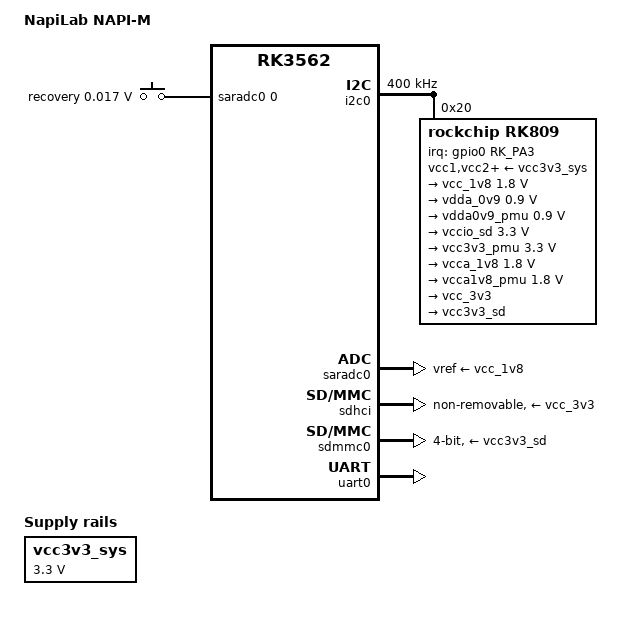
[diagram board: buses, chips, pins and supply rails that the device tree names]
// SPDX-License-Identifier: (GPL-2.0+ OR MIT)
/dts-v1/;

#include "rk3562.dtsi"
#include "rk3562-u-boot.dtsi"
#include <dt-bindings/input/input.h>

/ {
	model = "NapiLab NAPI-M";
	compatible = "napilab,napi-m", "rockchip,rk3562";

	aliases {
		serial0 = &uart0;
	};

	chosen {
		stdout-path = "serial0:1500000n8";
		u-boot,spl-boot-order = &sdmmc0, &sdhci;
	};

	adc-keys {
		compatible = "adc-keys";
		io-channels = <&saradc0 0>;
		io-channel-names = "buttons";
		keyup-threshold-microvolt = <1800000>;
		u-boot,dm-pre-reloc;

		recovery-key {
			label = "recovery";
			linux,code = <KEY_VOLUMEUP>;
			press-threshold-microvolt = <17000>;
			u-boot,dm-pre-reloc;
		};
	};

	vcc3v3_sys: regulator-vcc3v3-sys {
		compatible = "regulator-fixed";
		regulator-name = "vcc3v3_sys";
		regulator-min-microvolt = <3300000>;
		regulator-max-microvolt = <3300000>;
		regulator-always-on;
		regulator-boot-on;
		u-boot,dm-pre-reloc;
	};
};

&i2c0 {
	clock-frequency = <400000>;
	status = "okay";
	u-boot,dm-pre-reloc;

	rk809: pmic@20 {
		compatible = "rockchip,rk809";
		reg = <0x20>;
		interrupt-parent = <&gpio0>;
		interrupts = <RK_PA3 IRQ_TYPE_LEVEL_LOW>;
		pinctrl-names = "default";
		pinctrl-0 = <&pmic_int &soc_slppin_gpio>;
		rockchip,system-power-controller;
		pmic-reset-func = <0>;
		not-save-power-en = <1>;
		#clock-cells = <1>;
		u-boot,dm-pre-reloc;

		vcc1-supply = <&vcc3v3_sys>;
		vcc2-supply = <&vcc3v3_sys>;
		vcc3-supply = <&vcc3v3_sys>;
		vcc4-supply = <&vcc3v3_sys>;
		vcc5-supply = <&vcc3v3_sys>;
		vcc6-supply = <&vcc3v3_sys>;
		vcc7-supply = <&vcc3v3_sys>;
		vcc8-supply = <&vcc3v3_sys>;
		vcc9-supply = <&vcc3v3_sys>;

		pwrkey {
			u-boot,dm-pre-reloc;
			status = "okay";
		};

		regulators {
			/* BUCK3 uses external feedback; preserve its voltage. */
			vcc_1v8: DCDC_REG5 {
				regulator-name = "vcc_1v8";
				regulator-min-microvolt = <1800000>;
				regulator-max-microvolt = <1800000>;
				regulator-always-on;
				regulator-boot-on;
			};

			vdda_0v9: LDO_REG2 {
				regulator-name = "vdda_0v9";
				regulator-min-microvolt = <900000>;
				regulator-max-microvolt = <900000>;
				regulator-always-on;
				regulator-boot-on;
			};

			vdda0v9_pmu: LDO_REG3 {
				regulator-name = "vdda0v9_pmu";
				regulator-min-microvolt = <900000>;
				regulator-max-microvolt = <900000>;
				regulator-always-on;
				regulator-boot-on;
			};

			vccio_sd: LDO_REG5 {
				regulator-name = "vccio_sd";
				regulator-min-microvolt = <3300000>;
				regulator-max-microvolt = <3300000>;
				regulator-always-on;
				regulator-boot-on;
			};

			vcc3v3_pmu: LDO_REG6 {
				regulator-name = "vcc3v3_pmu";
				regulator-min-microvolt = <3300000>;
				regulator-max-microvolt = <3300000>;
				regulator-always-on;
				regulator-boot-on;
			};

			vcca_1v8: LDO_REG7 {
				regulator-name = "vcca_1v8";
				regulator-min-microvolt = <1800000>;
				regulator-max-microvolt = <1800000>;
				regulator-always-on;
				regulator-boot-on;
			};

			/* LDO8 also supplies LPDDR3 VDD1. */
			vcca1v8_pmu: LDO_REG8 {
				regulator-name = "vcca1v8_pmu";
				regulator-min-microvolt = <1800000>;
				regulator-max-microvolt = <1800000>;
				regulator-always-on;
				regulator-boot-on;
			};

			vcc_3v3: SWITCH_REG1 {
				regulator-name = "vcc_3v3";
				regulator-always-on;
				regulator-boot-on;
			};

			vcc3v3_sd: SWITCH_REG2 {
				regulator-name = "vcc3v3_sd";
				regulator-always-on;
				regulator-boot-on;
			};
		};
	};
};

&saradc0 {
	vref-supply = <&vcc_1v8>;
};

&sdhci {
	/delete-property/ mmc-hs400-1_8v;
	/delete-property/ mmc-hs400-enhanced-strobe;
	mmc-hs200-1_8v;
	vmmc-supply = <&vcc_3v3>;
	vqmmc-supply = <&vcc_1v8>;
	non-removable;
};

&sdmmc0 {
	bus-width = <4>;
	cap-sd-highspeed;
	max-frequency = <50000000>;
	broken-cd;
	disable-wp;
	vmmc-supply = <&vcc3v3_sd>;
	vqmmc-supply = <&vccio_sd>;
	pinctrl-0 = <&sdmmc0_clk &sdmmc0_cmd &sdmmc0_bus4>;
};

&sfc {
	status = "disabled";
};

&uart0 {
	clock-frequency = <24000000>;
	pinctrl-names = "default";
	pinctrl-0 = <&uart0m0_xfer>;
	u-boot,dm-pre-reloc;
	u-boot,dm-spl;
	status = "okay";
};

&uart2 {
	status = "disabled";
};
